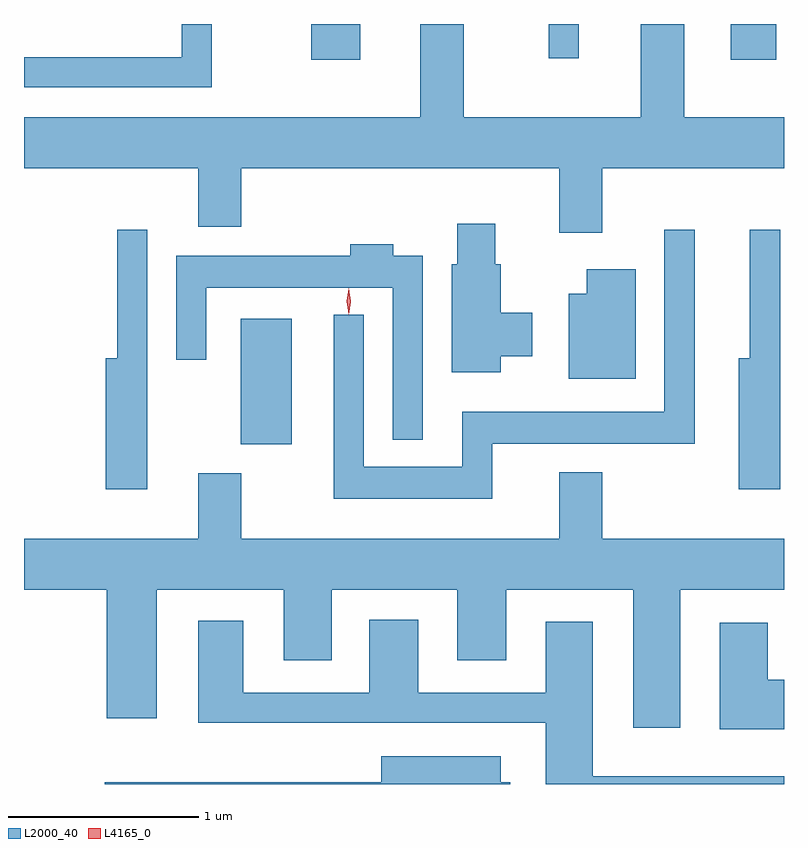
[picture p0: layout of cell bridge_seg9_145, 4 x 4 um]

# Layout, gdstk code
import gdstk
lib = gdstk.Library(unit=1e-6, precision=1e-09)
def R(c, l, rs):  # rectangles x0, y0, x1, y1
    for r in rs: c.add(gdstk.rectangle(r[:2], r[2:], *l))
def P(c, l, *ps):  # polygons
    for p in ps: c.add(gdstk.Polygon(p, *l))
L2000_40 = (2000, 40)
L4165_0 = (4165, 0)

bridge_seg9_145 = lib.new_cell('bridge_seg9_145')
R(bridge_seg9_145, L2000_40, [(1435.526,2065.841,1435.794,2066.504), (1435.896,2067.866,1436.154,2068.054), (1438.106,2067.866,1438.344,2068.054), (1437.146,2067.873,1437.304,2068.054)])
P(bridge_seg9_145, L2000_40, [(1437.429,2067.296),(1438.385,2067.296),(1438.385,2067.564),(1437.859,2067.564),(1437.859,2068.054),(1437.631,2068.054),(1437.631,2067.564),(1436.699,2067.564),(1436.699,2068.054),(1436.471,2068.054),(1436.471,2067.564),(1434.385,2067.564),(1434.385,2067.296),(1435.301,2067.296),(1435.301,2066.986),(1435.529,2066.986),(1435.529,2067.296),(1437.201,2067.296),(1437.201,2066.956),(1437.429,2066.956)],
  [(1435.374,2068.054),(1435.216,2068.054),(1435.216,2067.879),(1434.385,2067.879),(1434.385,2067.721),(1435.374,2067.721)],
  [(1436.894,2066.306),(1437.059,2066.306),(1437.059,2066.534),(1436.894,2066.534),(1436.894,2066.789),(1436.864,2066.789),(1436.864,2067.004),(1436.666,2067.004),(1436.666,2066.789),(1436.636,2066.789),(1436.636,2066.221),(1436.894,2066.221)],
  [(1436.849,2065.846),(1437.914,2065.846),(1437.914,2066.972),(1437.756,2066.972),(1437.756,2066.014),(1436.691,2066.014),(1436.691,2065.724),(1436.174,2065.724),(1436.174,2066.523),(1436.016,2066.523),(1436.016,2065.556),(1436.849,2065.556)],
  [(1438.364,2066.972),(1438.206,2066.972),(1438.206,2066.294),(1438.146,2066.294),(1438.146,2065.606),(1438.364,2065.606)],
  [(1435.034,2066.972),(1434.876,2066.972),(1434.876,2066.294),(1434.816,2066.294),(1434.816,2065.606),(1435.034,2065.606)],
  [(1436.484,2066.834),(1436.329,2066.834),(1436.329,2066.894),(1436.101,2066.894),(1436.101,2066.834),(1435.186,2066.834),(1435.186,2066.288),(1435.344,2066.288),(1435.344,2066.666),(1436.326,2066.666),(1436.326,2065.867),(1436.484,2065.867)],
  [(1437.604,2066.764),(1437.346,2066.764),(1437.346,2066.634),(1437.251,2066.634),(1437.251,2066.186),(1437.604,2066.186)],
  [(1437.839,2065.076),(1438.385,2065.076),(1438.385,2065.344),(1437.429,2065.344),(1437.429,2065.694),(1437.201,2065.694),(1437.201,2065.344),(1435.529,2065.344),(1435.529,2065.689),(1435.301,2065.689),(1435.301,2065.344),(1434.385,2065.344),(1434.385,2065.076),(1434.821,2065.076),(1434.821,2064.401),(1435.084,2064.401),(1435.084,2065.076),(1435.751,2065.076),(1435.751,2064.706),(1436.004,2064.706),(1436.004,2065.076),(1436.666,2065.076),(1436.666,2064.706),(1436.924,2064.706),(1436.924,2065.076),(1437.591,2065.076),(1437.591,2064.351),(1437.839,2064.351)],
  [(1438.385,2064.094),(1437.379,2064.094),(1437.379,2064.909),(1437.131,2064.909),(1437.131,2064.534),(1436.459,2064.534),(1436.459,2064.919),(1436.201,2064.919),(1436.201,2064.534),(1435.539,2064.534),(1435.539,2064.914),(1435.301,2064.914),(1435.301,2064.376),(1437.131,2064.376),(1437.131,2064.054),(1438.385,2064.054)],
  [(1438.385,2064.604),(1438.299,2064.604),(1438.299,2064.904),(1438.046,2064.904),(1438.046,2064.341),(1438.385,2064.341)],
  [(1436.943,2064.064),(1436.894,2064.064),(1436.894,2064.199),(1436.266,2064.199),(1436.266,2064.064),(1434.811,2064.064),(1434.811,2064.054),(1436.943,2064.054)])
P(bridge_seg9_145, L4165_0, [(1436.094,2066.524),(1436.085,2066.593),(1436.094,2066.662),(1436.095,2066.663),(1436.095,2066.662),(1436.105,2066.593),(1436.095,2066.524),(1436.095,2066.524)],
  [(1436.094,2066.527),(1436.094,2066.528),(1436.084,2066.594),(1436.094,2066.66),(1436.094,2066.66),(1436.095,2066.66),(1436.104,2066.594),(1436.095,2066.528)])

lib.write_gds('bridge_seg9_145.gds')
